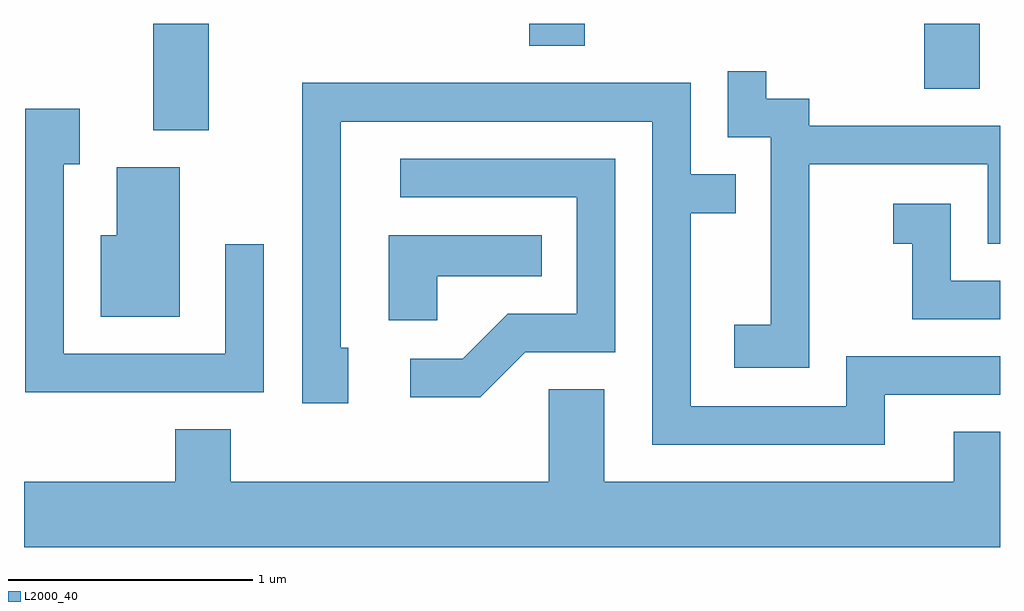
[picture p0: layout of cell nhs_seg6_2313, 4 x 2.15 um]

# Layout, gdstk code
import gdstk
lib = gdstk.Library(unit=1e-6, precision=1e-09)
def R(c, l, rs):  # rectangles x0, y0, x1, y1
    for r in rs: c.add(gdstk.rectangle(r[:2], r[2:], *l))
def P(c, l, *ps):  # polygons
    for p in ps: c.add(gdstk.Polygon(p, *l))
L2000_40 = (2000, 40)

nhs_seg6_2313 = lib.new_cell('nhs_seg6_2313')
R(nhs_seg6_2313, L2000_40, [(256.141,1571.726,256.369,1572.162), (259.301,1571.896,259.529,1572.162), (257.681,1572.071,257.909,1572.162)])
P(nhs_seg6_2313, L2000_40, [(258.829,1571.586),(259.561,1571.586),(259.561,1571.261),(259.611,1571.261),(259.611,1571.744),(258.829,1571.744),(258.829,1571.854),(258.654,1571.854),(258.654,1571.968),(258.496,1571.968),(258.496,1571.696),(258.671,1571.696),(258.671,1570.929),(258.521,1570.929),(258.521,1570.751),(258.829,1570.751)],
  [(259.139,1570.641),(259.611,1570.641),(259.611,1570.799),(258.981,1570.799),(258.981,1570.594),(258.344,1570.594),(258.344,1571.386),(258.528,1571.386),(258.528,1571.544),(258.344,1571.544),(258.344,1571.919),(256.751,1571.919),(256.751,1570.606),(256.939,1570.606),(256.939,1570.834),(256.909,1570.834),(256.909,1571.761),(258.186,1571.761),(258.186,1570.436),(259.139,1570.436)],
  [(256.594,1571.258),(256.436,1571.258),(256.436,1570.809),(255.774,1570.809),(255.774,1571.586),(255.839,1571.586),(255.839,1571.814),(255.616,1571.814),(255.616,1570.651),(256.594,1570.651)],
  [(257.666,1570.816),(258.034,1570.816),(258.034,1571.609),(257.153,1571.609),(257.153,1571.451),(257.876,1571.451),(257.876,1570.974),(257.594,1570.974),(257.409,1570.789),(257.193,1570.789),(257.193,1570.631),(257.481,1570.631)],
  [(256.249,1571.574),(255.991,1571.574),(255.991,1571.294),(255.926,1571.294),(255.926,1570.961),(256.249,1570.961)],
  [(259.611,1571.109),(259.409,1571.109),(259.409,1571.424),(259.173,1571.424),(259.173,1571.261),(259.251,1571.261),(259.251,1570.951),(259.611,1570.951)],
  [(257.304,1571.126),(257.733,1571.126),(257.733,1571.294),(257.106,1571.294),(257.106,1570.946),(257.304,1570.946)],
  [(259.611,1570.489),(259.421,1570.489),(259.421,1570.284),(257.989,1570.284),(257.989,1570.664),(257.761,1570.664),(257.761,1570.284),(256.459,1570.284),(256.459,1570.499),(256.231,1570.499),(256.231,1570.284),(255.611,1570.284),(255.611,1570.016),(259.611,1570.016)])

lib.write_gds('nhs_seg6_2313.gds')
